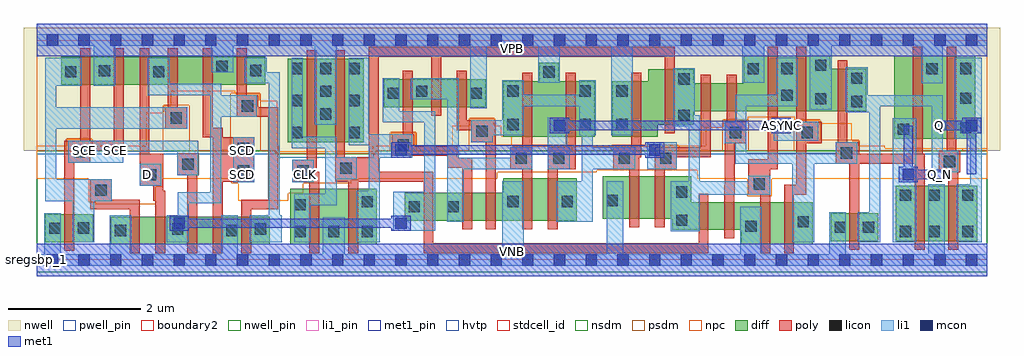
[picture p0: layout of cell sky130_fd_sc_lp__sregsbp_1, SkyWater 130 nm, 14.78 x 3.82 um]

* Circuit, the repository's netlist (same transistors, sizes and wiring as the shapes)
* Copyright 2020 The SkyWater PDK Authors
*
* Licensed under the Apache License, Version 2.0 (the "License");
* you may not use this file except in compliance with the License.
* You may obtain a copy of the License at
*
*     https://www.apache.org/licenses/LICENSE-2.0
*
* Unless required by applicable law or agreed to in writing, software
* distributed under the License is distributed on an "AS IS" BASIS,
* WITHOUT WARRANTIES OR CONDITIONS OF ANY KIND, either express or implied.
* See the License for the specific language governing permissions and
* limitations under the License.
*
* SPDX-License-Identifier: Apache-2.0

.SUBCKT sky130_fd_sc_lp__sregsbp_1 ASYNC CLK D SCD SCE VGND VNB VPB VPWR Q Q_N
*.PININFO ASYNC:I CLK:I D:I SCD:I SCE:I VGND:I VNB:I VPB:I VPWR:I Q:O
*.PININFO Q_N:O
MI7 net255 D net170 VPB sky130_fd_pr__pfet_01v8_hvt m=1 w=0.42U l=0.15U mult=1
+ sa=0.265 sb=0.265 sd=0.28 area=0.063 perim=1.14
MI8 net170 SCE VPWR VPB sky130_fd_pr__pfet_01v8_hvt m=1 w=0.42U l=0.15U mult=1
+ sa=0.265 sb=0.265 sd=0.28 area=0.063 perim=1.14
MI9 net158 SCD VPWR VPB sky130_fd_pr__pfet_01v8_hvt m=1 w=0.42U l=0.15U mult=1
+ sa=0.265 sb=0.265 sd=0.28 area=0.063 perim=1.14
MI10 net255 sceb net158 VPB sky130_fd_pr__pfet_01v8_hvt m=1 w=0.42U l=0.15U mult=1
+ sa=0.265 sb=0.265 sd=0.28 area=0.063 perim=1.14
MI643 clkneg CLK VPWR VPB sky130_fd_pr__pfet_01v8_hvt m=1 w=1.26U l=0.15U mult=1
+ sa=0.265 sb=0.265 sd=0.28 area=0.063 perim=1.14
MI661 Q_N s1 VPWR VPB sky130_fd_pr__pfet_01v8_hvt m=1 w=1.26U l=0.15U mult=1 sa=0.265
+ sb=0.265 sd=0.28 area=0.063 perim=1.14
MI48 s1 ASYNC VPWR VPB sky130_fd_pr__pfet_01v8_hvt m=1 w=0.84U l=0.15U mult=1 sa=0.265
+ sb=0.265 sd=0.28 area=0.063 perim=1.14
MI658 m1 m0 VPWR VPB sky130_fd_pr__pfet_01v8_hvt m=1 w=0.84U l=0.15U mult=1 sa=0.265
+ sb=0.265 sd=0.28 area=0.063 perim=1.14
MI659 m1 ASYNC VPWR VPB sky130_fd_pr__pfet_01v8_hvt m=1 w=0.84U l=0.15U mult=1
+ sa=0.265 sb=0.265 sd=0.28 area=0.063 perim=1.14
MI38 net135 m1 VPWR VPB sky130_fd_pr__pfet_01v8_hvt m=1 w=0.84U l=0.15U mult=1
+ sa=0.265 sb=0.265 sd=0.28 area=0.063 perim=1.14
MI39 s0 clkneg net135 VPB sky130_fd_pr__pfet_01v8_hvt m=1 w=0.84U l=0.15U mult=1
+ sa=0.265 sb=0.265 sd=0.28 area=0.063 perim=1.14
MI43 s0 clkpos net126 VPB sky130_fd_pr__pfet_01v8_hvt m=1 w=0.42U l=0.15U mult=1
+ sa=0.265 sb=0.265 sd=0.28 area=0.063 perim=1.14
MI42 net126 s1 VPWR VPB sky130_fd_pr__pfet_01v8_hvt m=1 w=0.42U l=0.15U mult=1
+ sa=0.265 sb=0.265 sd=0.28 area=0.063 perim=1.14
MI633 sceb SCE VPWR VPB sky130_fd_pr__pfet_01v8_hvt m=1 w=0.42U l=0.15U mult=1
+ sa=0.265 sb=0.265 sd=0.28 area=0.063 perim=1.14
MI49 s1 s0 VPWR VPB sky130_fd_pr__pfet_01v8_hvt m=1 w=0.84U l=0.15U mult=1 sa=0.265
+ sb=0.265 sd=0.28 area=0.063 perim=1.14
MI635 clkpos clkneg VPWR VPB sky130_fd_pr__pfet_01v8_hvt m=1 w=1.26U l=0.15U mult=1
+ sa=0.265 sb=0.265 sd=0.28 area=0.063 perim=1.14
MI662 net107 m1 VPWR VPB sky130_fd_pr__pfet_01v8_hvt m=1 w=0.42U l=0.15U mult=1
+ sa=0.265 sb=0.265 sd=0.28 area=0.063 perim=1.14
MI664 m0 clkneg net107 VPB sky130_fd_pr__pfet_01v8_hvt m=1 w=0.42U l=0.15U mult=1
+ sa=0.265 sb=0.265 sd=0.28 area=0.063 perim=1.14
MI660 Q net235 VPWR VPB sky130_fd_pr__pfet_01v8_hvt m=1 w=1.26U l=0.15U mult=1
+ sa=0.265 sb=0.265 sd=0.28 area=0.063 perim=1.14
MI663 net235 s1 VPWR VPB sky130_fd_pr__pfet_01v8_hvt m=1 w=0.64U l=0.15U mult=1
+ sa=0.265 sb=0.265 sd=0.28 area=0.063 perim=1.14
MI57 net175 net255 VPWR VPB sky130_fd_pr__pfet_01v8_hvt m=1 w=0.42U l=0.15U mult=1
+ sa=0.265 sb=0.265 sd=0.28 area=0.063 perim=1.14
MI58 net255 clkpos m0 VPB sky130_fd_pr__pfet_01v8_hvt m=1 w=0.42U l=0.15U mult=1
+ sa=0.265 sb=0.265 sd=0.28 area=0.063 perim=1.14
MI2 net259 sceb VGND VNB sky130_fd_pr__nfet_01v8 m=1 w=0.42U l=0.15U mult=1 sa=0.265
+ sb=0.265 sd=0.28 area=0.063 perim=1.14
MI3 net255 D net259 VNB sky130_fd_pr__nfet_01v8 m=1 w=0.42U l=0.15U mult=1 sa=0.265
+ sb=0.265 sd=0.28 area=0.063 perim=1.14
MI5 net255 SCE net247 VNB sky130_fd_pr__nfet_01v8 m=1 w=0.42U l=0.15U mult=1 sa=0.265
+ sb=0.265 sd=0.28 area=0.063 perim=1.14
MI6 net247 SCD VGND VNB sky130_fd_pr__nfet_01v8 m=1 w=0.42U l=0.15U mult=1 sa=0.265
+ sb=0.265 sd=0.28 area=0.063 perim=1.14
MI651 Q_N s1 VGND VNB sky130_fd_pr__nfet_01v8 m=1 w=0.84U l=0.15U mult=1 sa=0.265
+ sb=0.265 sd=0.28 area=0.063 perim=1.14
MI655 m0 clkpos net195 VNB sky130_fd_pr__nfet_01v8 m=1 w=0.42U l=0.15U mult=1 sa=0.265
+ sb=0.265 sd=0.28 area=0.063 perim=1.14
MI652 net235 s1 VGND VNB sky130_fd_pr__nfet_01v8 m=1 w=0.42U l=0.15U mult=1 sa=0.265
+ sb=0.265 sd=0.28 area=0.063 perim=1.14
MI653 Q net235 VGND VNB sky130_fd_pr__nfet_01v8 m=1 w=0.84U l=0.15U mult=1 sa=0.265
+ sb=0.265 sd=0.28 area=0.063 perim=1.14
MI657 net227 m0 VGND VNB sky130_fd_pr__nfet_01v8 m=1 w=0.64U l=0.15U mult=1 sa=0.265
+ sb=0.265 sd=0.28 area=0.063 perim=1.14
MI656 m1 ASYNC net227 VNB sky130_fd_pr__nfet_01v8 m=1 w=0.64U l=0.15U mult=1 sa=0.265
+ sb=0.265 sd=0.28 area=0.063 perim=1.14
MI40 s0 clkpos net218 VNB sky130_fd_pr__nfet_01v8 m=1 w=0.64U l=0.15U mult=1 sa=0.265
+ sb=0.265 sd=0.28 area=0.063 perim=1.14
MI45 net215 s1 VGND VNB sky130_fd_pr__nfet_01v8 m=1 w=0.42U l=0.15U mult=1 sa=0.265
+ sb=0.265 sd=0.28 area=0.063 perim=1.14
MI44 s0 clkneg net215 VNB sky130_fd_pr__nfet_01v8 m=1 w=0.42U l=0.15U mult=1 sa=0.265
+ sb=0.265 sd=0.28 area=0.063 perim=1.14
MI51 net198 s0 VGND VNB sky130_fd_pr__nfet_01v8 m=1 w=0.64U l=0.15U mult=1 sa=0.265
+ sb=0.265 sd=0.28 area=0.063 perim=1.14
MI634 sceb SCE VGND VNB sky130_fd_pr__nfet_01v8 m=1 w=0.42U l=0.15U mult=1 sa=0.265
+ sb=0.265 sd=0.28 area=0.063 perim=1.14
MI50 s1 ASYNC net198 VNB sky130_fd_pr__nfet_01v8 m=1 w=0.64U l=0.15U mult=1 sa=0.265
+ sb=0.265 sd=0.28 area=0.063 perim=1.14
MI654 net195 m1 VGND VNB sky130_fd_pr__nfet_01v8 m=1 w=0.42U l=0.15U mult=1 sa=0.265
+ sb=0.265 sd=0.28 area=0.063 perim=1.14
MI41 net218 m1 VGND VNB sky130_fd_pr__nfet_01v8 m=1 w=0.64U l=0.15U mult=1 sa=0.265
+ sb=0.265 sd=0.28 area=0.063 perim=1.14
MI642 clkneg CLK VGND VNB sky130_fd_pr__nfet_01v8 m=1 w=0.84U l=0.15U mult=1 sa=0.265
+ sb=0.265 sd=0.28 area=0.063 perim=1.14
MI636 clkpos clkneg VGND VNB sky130_fd_pr__nfet_01v8 m=1 w=0.84U l=0.15U mult=1
+ sa=0.265 sb=0.265 sd=0.28 area=0.063 perim=1.14
MI60 net255 clkneg m0 VNB sky130_fd_pr__nfet_01v8 m=1 w=0.42U l=0.15U mult=1 sa=0.265
+ sb=0.265 sd=0.28 area=0.063 perim=1.14
MI59 net175 net255 VGND VNB sky130_fd_pr__nfet_01v8 m=1 w=0.42U l=0.15U mult=1
+ sa=0.265 sb=0.265 sd=0.28 area=0.063 perim=1.14
.ENDS sky130_fd_sc_lp__sregsbp_1

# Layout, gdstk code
import gdstk
lib = gdstk.Library(unit=1e-6, precision=1e-09)
def R(c, l, rs):  # rectangles x0, y0, x1, y1
    for r in rs: c.add(gdstk.rectangle(r[:2], r[2:], *l))
def A(c, l, x, y, w, h, nx, ny, dx, dy):  # array of equal rectangles
    R(c, l, [(x+i*dx, y+j*dy, x+i*dx+w, y+j*dy+h) for i in range(nx) for j in range(ny)])
def P(c, l, *ps):  # polygons
    for p in ps: c.add(gdstk.Polygon(p, *l))
nwell_pin = (64, 16)
nwell = (64, 20)
diff = (65, 20)
poly = (66, 20)
licon = (66, 44)
li1_pin = (67, 16)
li1 = (67, 20)
mcon = (67, 44)
met1_pin = (68, 16)
met1 = (68, 20)
hvtp = (78, 44)
stdcell_id = (81, 4)
nsdm = (93, 44)
psdm = (94, 20)
npc = (95, 20)
pwell_pin = (122, 16)
boundary2 = (236, 0)

sky130_fd_sc_lp__sregsbp = lib.new_cell('sky130_fd_sc_lp__sregsbp_1')
R(sky130_fd_sc_lp__sregsbp, nwell_pin, [(0,3.085,14.4,3.33)])
P(sky130_fd_sc_lp__sregsbp, nwell, [(14.59,3.52),(-0.19,3.52),(-0.19,1.655),(3.625,1.655),(3.625,1.605),(5.135,1.605),(5.135,1.655),(14.59,1.655)])
R(sky130_fd_sc_lp__sregsbp, diff, [(1.125,0.235,3.535,0.655), (3.845,0.235,5.155,1.075), (0.135,0.27,0.855,0.69), (12.025,0.285,12.745,0.705), (13.015,0.285,14.245,1.125), (3.805,1.785,4.955,3.045), (12.985,1.835,14.215,3.095), (5.26,2.315,6.8,2.735), (0.375,2.655,3.465,3.075)])
P(sky130_fd_sc_lp__sregsbp, diff, [(8.18,1.235),(7.07,1.235),(7.07,1.015),(5.575,1.015),(5.575,0.595),(8.18,0.595)],
  [(8.45,2.705),(7.905,2.705),(7.905,2.99),(7.615,2.99),(7.615,2.705),(7.07,2.705),(7.07,1.865),(8.45,1.865)],
  [(11.755,0.875),(9.915,0.875),(9.915,1.265),(8.575,1.265),(8.575,0.625),(9.625,0.625),(9.625,0.455),(10.675,0.455),(10.675,0.235),(11.755,0.235)],
  [(12.565,2.895),(12.02,2.895),(12.02,3.095),(10.71,3.095),(10.71,2.675),(9.95,2.675),(9.95,2.885),(9.265,2.885),(9.265,2.705),(8.72,2.705),(8.72,1.865),(9.405,1.865),(9.405,2.045),(9.95,2.045),(9.95,2.255),(12.565,2.255)])
P(sky130_fd_sc_lp__sregsbp, poly, [(1.32,3.205),(1.17,3.205),(1.17,1.805),(0.81,1.805),(0.81,3.205),(0.66,3.205),(0.66,1.805),(0.42,1.805),(0.42,0.14),(0.57,0.14),(0.57,1.475),(0.81,1.475),(0.81,1.655),(1.32,1.655)],
  [(1.56,0.915),(1.14,0.915),(1.14,1.22),(0.81,1.22),(0.81,0.765),(1.41,0.765),(1.41,0.105),(1.56,0.105)],
  [(1.95,1.045),(1.92,1.045),(1.92,1.61),(1.71,1.61),(1.71,3.205),(1.56,3.205),(1.56,1.125),(1.77,1.125),(1.77,0.895),(1.8,0.895),(1.8,0.105),(1.95,0.105)],
  [(2.28,2.315),(2.14,2.315),(2.14,3.205),(1.99,3.205),(1.99,2.315),(1.95,2.315),(1.95,1.985),(2.28,1.985)],
  [(2.46,1.615),(2.13,1.615),(2.13,1.285),(2.28,1.285),(2.28,0.105),(2.43,0.105),(2.43,1.285),(2.46,1.285)],
  [(3.3,1.855),(2.82,1.855),(2.82,2.005),(2.67,2.005),(2.67,3.205),(2.52,3.205),(2.52,1.855),(2.67,1.855),(2.67,0.105),(2.82,0.105),(2.82,1.185),(3.3,1.185)],
  [(3.66,2.315),(3.36,2.315),(3.36,2.495),(3.18,2.495),(3.18,3.205),(3.03,3.205),(3.03,2.165),(3.51,2.165),(3.51,0.915),(3.1,0.915),(3.1,0.105),(3.25,0.105),(3.25,0.765),(3.66,0.765)],
  [(4.28,1.335),(4.24,1.335),(4.24,3.175),(4.09,3.175),(4.09,1.515),(3.87,1.515),(3.87,1.185),(4.13,1.185),(4.13,0.105),(4.28,0.105)],
  [(6.595,1.545),(6.37,1.545),(6.37,1.725),(5.72,1.725),(5.72,1.905),(5.695,1.905),(5.695,2.865),(5.545,2.865),(5.545,1.905),(5.39,1.905),(5.39,1.575),(6.22,1.575),(6.22,1.395),(6.445,1.395),(6.445,0.465),(6.595,0.465)],
  [(6.955,2.115),(6.515,2.115),(6.515,2.865),(6.365,2.865),(6.365,1.965),(6.58,1.965),(6.58,1.785),(6.805,1.785),(6.805,0.465),(6.955,0.465)],
  [(7.505,2.835),(7.355,2.835),(7.355,1.705),(7.175,1.705),(7.175,1.375),(7.355,1.375),(7.355,0.465),(7.505,0.465)],
  [(8.165,2.835),(8.015,2.835),(8.015,1.705),(7.745,1.705),(7.745,0.465),(7.895,0.465),(7.895,1.375),(8.165,1.375)],
  [(9.155,2.835),(9.005,2.835),(9.005,1.705),(8.735,1.705),(8.735,1.375),(8.975,1.375),(8.975,0.495),(9.125,0.495),(9.125,1.555),(9.155,1.555)],
  [(10.175,1.005),(10.025,1.005),(10.025,0.255),(6.01,0.255),(6.01,1.335),(5.18,1.335),(5.18,3.075),(5.975,3.075),(5.975,2.185),(6.125,2.185),(6.125,3.075),(9.515,3.075),(9.515,1.915),(9.665,1.915),(9.665,3.225),(5.03,3.225),(5.03,1.555),(4.67,1.555),(4.67,3.175),(4.52,3.175),(4.52,1.185),(4.72,1.185),(4.72,0.105),(4.87,0.105),(4.87,1.185),(5.86,1.185),(5.86,0.105),(10.175,0.105)],
  [(10.21,2.805),(10.06,2.805),(10.06,1.705),(9.365,1.705),(9.365,0.495),(9.515,0.495),(9.515,1.375),(9.695,1.375),(9.695,1.555),(10.21,1.555)],
  [(10.75,2.095),(10.6,2.095),(10.6,2.805),(10.45,2.805),(10.45,2.095),(10.42,2.095),(10.42,1.135),(10.415,1.135),(10.415,0.325),(10.565,0.325),(10.565,0.985),(10.57,0.985),(10.57,1.765),(10.75,1.765)],
  [(11.225,3.225),(11.075,3.225),(11.075,1.525),(10.78,1.525),(10.78,0.985),(10.96,0.985),(10.96,0.105),(11.11,0.105),(11.11,1.375),(11.225,1.375)],
  [(11.89,2.095),(11.655,2.095),(11.655,3.225),(11.505,3.225),(11.505,1.135),(11.32,1.135),(11.32,0.105),(11.47,0.105),(11.47,0.985),(11.655,0.985),(11.655,1.765),(11.89,1.765)],
  [(13.45,1.605),(13.42,1.605),(13.42,3.225),(13.27,3.225),(13.27,1.605),(12.46,1.605),(12.46,1.785),(12.28,1.785),(12.28,3.025),(12.13,3.025),(12.13,1.785),(12.1,1.785),(12.1,1.455),(12.31,1.455),(12.31,0.155),(12.46,0.155),(12.46,1.455),(13.3,1.455),(13.3,0.155),(13.45,0.155)],
  [(13.99,1.655),(13.93,1.655),(13.93,3.225),(13.78,3.225),(13.78,1.655),(13.66,1.655),(13.66,1.325),(13.81,1.325),(13.81,0.155),(13.96,0.155),(13.96,1.325),(13.99,1.325)])
A(sky130_fd_sc_lp__sregsbp, licon, 3.905, 0.345, 0.17, 0.17, 3, 1, 0.51, 0)
A(sky130_fd_sc_lp__sregsbp, licon, 13.985, 1.915, 0.17, 0.17, 1, 3, 0, 0.45)
A(sky130_fd_sc_lp__sregsbp, licon, 3.865, 2.815, 0.17, 0.17, 3, 1, 0.43, 0)
R(sky130_fd_sc_lp__sregsbp, licon, [(13.075,0.345,13.245,0.515), (13.505,0.345,13.675,0.515), (14.015,0.345,14.185,0.515), (1.185,0.36,1.355,0.53), (2.875,0.36,3.045,0.53), (2.055,0.385,2.225,0.555), (3.305,0.385,3.475,0.555), (0.195,0.395,0.365,0.565), (0.625,0.4,0.795,0.57), (12.085,0.41,12.255,0.58), (12.515,0.41,12.685,0.58), (10.735,0.425,10.905,0.595), (11.525,0.495,11.695,0.665), (9.685,0.515,9.855,0.685), (5.635,0.72,5.805,0.89), (6.22,0.72,6.39,0.89), (3.905,0.75,4.075,0.92), (4.925,0.795,5.095,0.965), (7.13,0.8,7.3,0.97), (7.95,0.8,8.12,0.97), (8.635,0.815,8.805,0.985), (13.075,0.895,13.245,1.065), (13.505,0.895,13.675,1.065), (14.015,0.895,14.185,1.065), (9.685,0.945,9.855,1.115), (0.89,0.97,1.06,1.14), (10.86,1.065,11.03,1.235), (1.64,1.205,1.81,1.375), (3.05,1.265,3.22,1.435), (3.95,1.265,4.12,1.435), (4.6,1.305,4.77,1.475), (2.21,1.365,2.38,1.535), (13.74,1.405,13.91,1.575), (7.255,1.455,7.425,1.625), (7.825,1.455,7.995,1.625), (8.815,1.455,8.985,1.625), (9.445,1.455,9.615,1.625), (12.18,1.535,12.35,1.705), (0.56,1.555,0.73,1.725), (3.05,1.605,3.22,1.775), (5.47,1.655,5.64,1.825), (3.865,1.845,4.035,2.015), (4.725,1.845,4.895,2.015), (10.5,1.845,10.67,2.015), (11.585,1.845,11.755,2.015), (6.66,1.865,6.83,2.035), (13.045,1.895,13.215,2.065), (7.13,1.965,7.3,2.135), (8.22,1.965,8.39,2.135), (8.78,1.965,8.95,2.135), (2.03,2.065,2.2,2.235), (9.72,2.105,9.89,2.275), (4.295,2.125,4.465,2.295), (3.11,2.245,3.28,2.415), (12.335,2.315,12.505,2.485), (3.865,2.33,4.035,2.5), (4.725,2.33,4.895,2.5), (11.79,2.355,11.96,2.525), (11.28,2.41,11.45,2.58), (5.32,2.44,5.49,2.61), (6.57,2.44,6.74,2.61), (4.295,2.47,4.465,2.64), (5.75,2.47,5.92,2.64), (7.13,2.475,7.3,2.645), (8.22,2.475,8.39,2.645), (8.78,2.475,8.95,2.645), (9.72,2.655,9.89,2.825), (12.335,2.665,12.505,2.835), (7.675,2.76,7.845,2.93), (0.435,2.765,0.605,2.935), (1.765,2.765,1.935,2.935), (0.945,2.78,1.115,2.95), (3.235,2.785,3.405,2.955), (10.77,2.81,10.94,2.98), (13.475,2.81,13.645,2.98), (11.28,2.815,11.45,2.985), (2.725,2.845,2.895,3.015), (11.79,2.865,11.96,3.035)])
R(sky130_fd_sc_lp__sregsbp, li1_pin, [(1.595,1.21,1.765,1.38), (3.035,1.21,3.205,1.38), (3.995,1.21,4.165,1.38), (0.635,1.58,0.805,1.75), (1.115,1.58,1.285,1.75), (3.035,1.58,3.205,1.75)])
R(sky130_fd_sc_lp__sregsbp, li1, [(12.965,0.265,13.325,2.145), (1.56,1.125,1.89,1.455), (2.98,1.18,3.3,1.855), (3.87,1.18,4.195,1.515), (9.245,1.375,9.695,1.78)])
P(sky130_fd_sc_lp__sregsbp, li1, [(0.545,0.265),(0.545,0.89),(0.13,0.89),(0.13,3.065),(0.685,3.065),(0.685,2.635),(0.3,2.635),(0.3,2.315),(2.28,2.315),(2.28,1.985),(0.3,1.985),(0.3,1.22),(1.14,1.22),(1.14,0.89),(0.875,0.89),(0.875,0.265)],
  [(8.425,1.705),(9.065,1.705),(9.065,1.375),(8.425,1.375),(8.425,0.575),(7.87,0.575),(7.87,1.195),(8.255,1.195),(8.255,1.885),(8.22,1.885),(8.22,2.33),(7.38,2.33),(7.38,1.885),(6.91,1.885),(6.91,1.785),(6.58,1.785),(6.58,2.115),(7.05,2.115),(7.05,2.725),(7.38,2.725),(7.38,2.5),(8.22,2.5),(8.22,2.725),(8.47,2.725),(8.47,1.885),(8.425,1.885)],
  [(13.555,2.325),(12.78,2.325),(12.78,0.265),(12.435,0.265),(12.435,0.725),(12.61,0.725),(12.61,2.235),(12.255,2.235),(12.255,2.915),(12.585,2.915),(12.585,2.495),(13.725,2.495),(13.725,1.655),(13.96,1.655),(13.96,1.325),(13.555,1.325)],
  [(5.87,1.035),(5.87,2.085),(5.24,2.085),(5.24,2.755),(5.49,2.755),(5.49,2.255),(6.04,2.255),(6.04,0.44),(5.405,0.44),(5.405,1.035)],
  [(2.45,1.805),(2.45,1.285),(2.13,1.285),(2.13,1.635),(1.315,1.635),(1.315,1.475),(0.48,1.475),(0.48,1.805)],
  [(6.57,2.295),(6.57,3.245),(4.545,3.245),(4.545,2.045),(4.215,2.045),(4.215,3.245),(2.975,3.245),(2.975,2.845),(2.645,2.845),(2.645,3.245),(1.195,3.245),(1.195,2.635),(0.865,2.635),(0.865,3.245),(0,3.245),(0,3.415),(14.4,3.415),(14.4,3.245),(13.725,3.245),(13.725,2.675),(13.395,2.675),(13.395,3.245),(12.04,3.245),(12.04,2.275),(11.71,2.275),(11.71,3.245),(11.02,3.245),(11.02,2.68),(10.69,2.68),(10.69,3.245),(9.03,3.245),(9.03,1.885),(8.7,1.885),(8.7,3.245),(7.925,3.245),(7.925,2.68),(7.595,2.68),(7.595,3.245),(6.82,3.245),(6.82,2.295)],
  [(7.05,0.085),(7.05,1.195),(7.38,1.195),(7.38,0.085),(8.635,0.085),(8.635,1.195),(8.885,1.195),(8.885,0.085),(10.655,0.085),(10.655,0.805),(10.985,0.805),(10.985,0.085),(12.005,0.085),(12.005,0.725),(12.255,0.725),(12.255,0.085),(13.505,0.085),(13.505,1.145),(13.755,1.145),(13.755,0.085),(14.4,0.085),(14.4,-0.085),(0,-0.085),(0,0.085),(0.115,0.085),(0.115,0.71),(0.365,0.71),(0.365,0.085),(1.105,0.085),(1.105,0.675),(1.435,0.675),(1.435,0.085),(2.795,0.085),(2.795,0.675),(3.045,0.675),(3.045,0.085),(4.335,0.085),(4.335,0.65),(4.665,0.65),(4.665,0.085)],
  [(10.58,1.455),(10.58,1.765),(10.42,1.765),(10.42,2.095),(10.58,2.095),(10.58,2.5),(11.2,2.5),(11.2,3.065),(11.53,3.065),(11.53,2.33),(10.75,2.33),(10.75,1.625),(12.1,1.625),(12.1,1.785),(12.43,1.785),(12.43,1.455),(11.775,1.455),(11.775,0.265),(11.445,0.265),(11.445,1.455)],
  [(11.165,2.15),(11.395,2.15),(11.395,2.095),(11.835,2.095),(11.835,1.805),(11.165,1.805)],
  [(8.035,1.705),(8.075,1.705),(8.075,1.375),(7.745,1.375),(7.745,2.15),(8.035,2.15)],
  [(2.135,1.025),(2.63,1.025),(2.63,2.495),(1.685,2.495),(1.685,3.065),(2.015,3.065),(2.015,2.665),(2.8,2.665),(2.8,2.495),(3.335,2.495),(3.335,2.165),(2.8,2.165),(2.8,0.855),(2.305,0.855),(2.305,0.265),(1.975,0.265),(1.975,0.675),(2.135,0.675)],
  [(4.545,1.555),(4.85,1.555),(4.85,1.225),(4.545,1.225),(4.545,0.83),(4.155,0.83),(4.155,0.265),(3.905,0.265),(3.905,1),(4.375,1),(4.375,1.695),(3.865,1.695),(3.865,3.065),(4.035,3.065),(4.035,1.865),(4.545,1.865)],
  [(10.045,0.985),(10.045,0.435),(9.605,0.435),(9.605,1.195),(9.875,1.195),(9.875,2.025),(9.64,2.025),(9.64,2.905),(9.97,2.905),(9.97,2.195),(10.045,2.195),(10.045,1.195),(10.78,1.195),(10.78,1.275),(11.11,1.275),(11.11,0.985)],
  [(3.515,0.675),(3.515,2.675),(3.155,2.675),(3.155,3.065),(3.485,3.065),(3.485,2.845),(3.685,2.845),(3.685,0.675),(3.715,0.675),(3.715,0.265),(3.225,0.265),(3.225,0.675)],
  [(7.175,1.545),(7.175,1.705),(7.505,1.705),(7.505,1.375),(6.47,1.375),(6.47,0.575),(6.22,0.575),(6.22,2.435),(5.67,2.435),(5.67,2.755),(6.39,2.755),(6.39,1.545)],
  [(5.03,1.905),(5.69,1.905),(5.69,1.55),(5.2,1.55),(5.2,0.265),(4.845,0.265),(4.845,1.045),(5.03,1.045),(5.03,1.735),(4.725,1.735),(4.725,3.065),(5.03,3.065)],
  [(13.905,1.835),(13.905,3.065),(14.31,3.065),(14.31,0.265),(13.935,0.265),(13.935,1.145),(14.14,1.145),(14.14,1.835)])
A(sky130_fd_sc_lp__sregsbp, mcon, 0.155, -0.085, 0.17, 0.17, 30, 2, 0.48, 3.33)
R(sky130_fd_sc_lp__sregsbp, mcon, [(2.075,0.47,2.245,0.64), (5.435,0.47,5.605,0.64), (13.115,1.21,13.285,1.38), (5.435,1.58,5.605,1.75), (9.275,1.58,9.445,1.75), (7.835,1.95,8.005,2.12), (11.195,1.95,11.365,2.12), (14.075,1.95,14.245,2.12)])
R(sky130_fd_sc_lp__sregsbp, met1_pin, [(0,0,14.4,0.245), (13.595,1.225,13.765,1.365), (11.195,1.95,11.365,2.12), (13.595,1.965,13.765,2.105), (0,3.085,14.4,3.33)])
R(sky130_fd_sc_lp__sregsbp, met1, [(0,-0.245,14.4,0.245), (0,3.085,14.4,3.575)])
P(sky130_fd_sc_lp__sregsbp, met1, [(14.305,2.15),(14.015,2.15),(14.015,2.105),(13.595,2.105),(13.595,1.965),(14.015,1.965),(14.015,1.92),(14.09,1.92),(14.09,1.295),(14.23,1.295),(14.23,1.92),(14.305,1.92)],
  [(2.305,0.625),(5.375,0.625),(5.375,0.67),(5.665,0.67),(5.665,0.44),(5.375,0.44),(5.375,0.485),(2.305,0.485),(2.305,0.44),(2.015,0.44),(2.015,0.67),(2.305,0.67)],
  [(5.665,1.735),(9.215,1.735),(9.215,1.78),(9.505,1.78),(9.505,1.55),(9.215,1.55),(9.215,1.595),(5.665,1.595),(5.665,1.55),(5.375,1.55),(5.375,1.78),(5.665,1.78)],
  [(8.065,2.105),(11.135,2.105),(11.135,2.15),(11.425,2.15),(11.425,1.92),(11.135,1.92),(11.135,1.965),(8.065,1.965),(8.065,1.92),(7.775,1.92),(7.775,2.15),(8.065,2.15)],
  [(13.765,1.365),(13.345,1.365),(13.345,1.41),(13.27,1.41),(13.27,2.035),(13.13,2.035),(13.13,1.41),(13.055,1.41),(13.055,1.18),(13.345,1.18),(13.345,1.225),(13.765,1.225)])
P(sky130_fd_sc_lp__sregsbp, hvtp, [(14.4,3.33),(0,3.33),(0,1.6),(3.655,1.6),(3.655,1.55),(5.105,1.55),(5.105,1.6),(14.4,1.6)])
R(sky130_fd_sc_lp__sregsbp, stdcell_id, [(0,0,14.4,3.33)])
P(sky130_fd_sc_lp__sregsbp, nsdm, [(14.4,1.655),(5.135,1.655),(5.135,1.605),(3.625,1.605),(3.625,1.655),(0,1.655),(0,-0.19),(14.4,-0.19)])
P(sky130_fd_sc_lp__sregsbp, psdm, [(14.4,3.52),(0,3.52),(0,1.655),(0.45,1.655),(0.45,1.835),(0.84,1.835),(0.84,1.655),(1.92,1.655),(1.92,2.345),(2.31,2.345),(2.31,1.655),(2.94,1.655),(2.94,2.525),(3.39,2.525),(3.39,1.655),(3.625,1.655),(3.625,1.605),(5.135,1.605),(5.135,1.655),(5.36,1.655),(5.36,1.935),(5.75,1.935),(5.75,1.655),(6.55,1.655),(6.55,2.145),(6.94,2.145),(6.94,1.735),(8.105,1.735),(8.105,1.655),(8.705,1.655),(8.705,1.735),(9.725,1.735),(9.725,1.655),(10.39,1.655),(10.39,2.125),(10.78,2.125),(10.78,1.655),(11.475,1.655),(11.475,2.125),(11.865,2.125),(11.865,1.815),(12.46,1.815),(12.46,1.655),(13.63,1.655),(13.63,1.685),(14.02,1.685),(14.02,1.655),(14.4,1.655)])
P(sky130_fd_sc_lp__sregsbp, npc, [(14.4,1.695),(12.845,1.695),(12.845,1.73),(12.45,1.73),(12.45,1.805),(12.345,1.805),(12.345,2.07),(11.855,2.07),(11.855,2.115),(11.485,2.115),(11.485,2.165),(10.77,2.165),(10.77,2.115),(10.4,2.115),(10.4,2.01),(10.135,2.01),(10.135,1.73),(9.545,1.73),(9.545,1.725),(7.195,1.725),(7.195,1.875),(7.04,1.875),(7.04,2.03),(6.93,2.03),(6.93,2.135),(6.56,2.135),(6.56,2.03),(6.295,2.03),(6.295,1.73),(5.74,1.73),(5.74,1.925),(5.37,1.925),(5.37,1.73),(5.095,1.73),(5.095,1.645),(3.665,1.645),(3.665,1.73),(3.645,1.73),(3.645,2.41),(3.38,2.41),(3.38,2.515),(3.01,2.515),(3.01,2.565),(2.035,2.565),(2.035,2.335),(1.93,2.335),(1.93,2.23),(1.665,2.23),(1.665,1.73),(0.83,1.73),(0.83,1.825),(0.46,1.825),(0.46,1.73),(0,1.73),(0,1.23),(0.79,1.23),(0.79,0.87),(0.895,0.87),(0.895,0.84),(1.805,0.84),(1.805,1.105),(1.91,1.105),(1.91,1.23),(2.95,1.23),(2.95,1.165),(3.055,1.165),(3.055,0.9),(3.815,0.9),(3.815,1.01),(4.04,1.01),(4.04,1.165),(4.765,1.165),(4.765,1.205),(4.87,1.205),(4.87,1.23),(6.98,1.23),(6.98,1.325),(8.485,1.325),(8.485,1.355),(10.005,1.355),(10.005,1.23),(10.76,1.23),(10.76,0.965),(11.13,0.965),(11.13,1.23),(14.4,1.23)])
R(sky130_fd_sc_lp__sregsbp, pwell_pin, [(0,0,14.4,0.245)])
R(sky130_fd_sc_lp__sregsbp, boundary2, [(0,0,14.4,3.33)])
sky130_fd_sc_lp__sregsbp.add(gdstk.Label('VNB', (7.2,0.123), layer=64, texttype=59))
sky130_fd_sc_lp__sregsbp.add(gdstk.Label('VPB', (7.2,3.208), layer=64, texttype=5))
sky130_fd_sc_lp__sregsbp.add(gdstk.Label('sregsbp_1', (0,0), layer=83, texttype=44))
sky130_fd_sc_lp__sregsbp.add(gdstk.Label('ASYNC', (11.28,2.035), layer=68, texttype=5))
sky130_fd_sc_lp__sregsbp.add(gdstk.Label('Q', (13.68,2.035), layer=68, texttype=5))
sky130_fd_sc_lp__sregsbp.add(gdstk.Label('Q_N', (13.68,1.295), layer=68, texttype=5))
sky130_fd_sc_lp__sregsbp.add(gdstk.Label('VPWR', (7.2,3.208), layer=68, texttype=5))
sky130_fd_sc_lp__sregsbp.add(gdstk.Label('VGND', (7.2,0.123), layer=68, texttype=5))
sky130_fd_sc_lp__sregsbp.add(gdstk.Label('SCE', (0.72,1.665), layer=67, texttype=5))
sky130_fd_sc_lp__sregsbp.add(gdstk.Label('SCE', (1.2,1.665), layer=67, texttype=5))
sky130_fd_sc_lp__sregsbp.add(gdstk.Label('D', (1.68,1.295), layer=67, texttype=5))
sky130_fd_sc_lp__sregsbp.add(gdstk.Label('CLK', (4.08,1.295), layer=67, texttype=5))
sky130_fd_sc_lp__sregsbp.add(gdstk.Label('SCD', (3.12,1.295), layer=67, texttype=5))
sky130_fd_sc_lp__sregsbp.add(gdstk.Label('SCD', (3.12,1.665), layer=67, texttype=5))

lib.write_gds('sky130_fd_sc_lp__sregsbp_1.gds')
